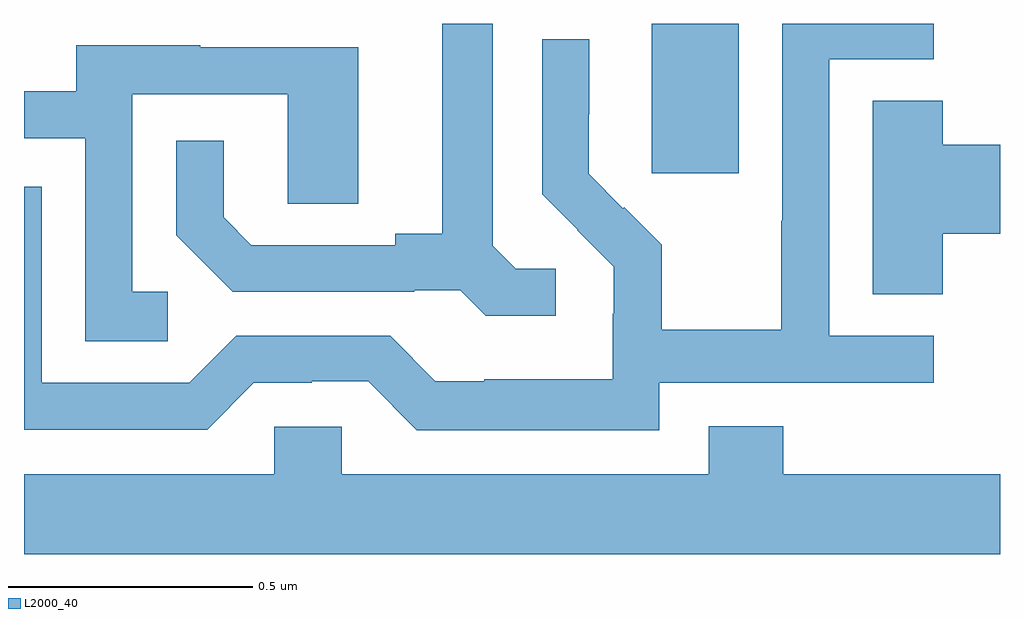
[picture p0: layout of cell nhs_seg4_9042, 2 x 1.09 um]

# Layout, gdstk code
import gdstk
lib = gdstk.Library(unit=1e-6, precision=1e-09)
def R(c, l, rs):  # rectangles x0, y0, x1, y1
    for r in rs: c.add(gdstk.rectangle(r[:2], r[2:], *l))
def P(c, l, *ps):  # polygons
    for p in ps: c.add(gdstk.Polygon(p, *l))
L2000_40 = (2000, 40)

nhs_seg4_9042 = lib.new_cell('nhs_seg4_9042')
R(nhs_seg4_9042, L2000_40, [(223.286,805.593,223.465,805.9)])
P(nhs_seg4_9042, L2000_40, [(223.09,805.398),(223.008,805.398),(222.961,805.445),(222.961,805.9),(222.857,805.9),(222.857,805.469),(222.761,805.469),(222.761,805.446),(222.466,805.446),(222.409,805.503),(222.409,805.66),(222.312,805.66),(222.312,805.466),(222.428,805.35),(222.8,805.35),(222.8,805.353),(222.894,805.353),(222.946,805.301),(223.09,805.301)],
  [(223.302,805.164),(223.864,805.164),(223.864,805.26),(223.65,805.26),(223.65,805.827),(223.864,805.827),(223.864,805.9),(223.554,805.9),(223.554,805.496),(223.552,805.496),(223.552,805.273),(223.307,805.273),(223.307,805.447),(223.23,805.524),(223.227,805.521),(223.157,805.592),(223.157,805.714),(223.158,805.714),(223.158,805.868),(223.062,805.868),(223.062,805.55),(223.135,805.477),(223.134,805.476),(223.208,805.402),(223.208,805.305),(223.206,805.305),(223.206,805.171),(222.943,805.171),(222.943,805.167),(222.843,805.167),(222.75,805.26),(222.435,805.26),(222.339,805.164),(222.036,805.164),(222.036,805.566),(222,805.566),(222,805.068),(222.375,805.068),(222.471,805.164),(222.59,805.164),(222.59,805.167),(222.705,805.167),(222.805,805.067),(223.302,805.067)],
  [(222.295,805.35),(222.222,805.35),(222.222,805.755),(222.54,805.755),(222.54,805.531),(222.685,805.531),(222.685,805.851),(222.361,805.851),(222.361,805.855),(222.107,805.855),(222.107,805.761),(222,805.761),(222,805.665),(222.126,805.665),(222.126,805.249),(222.295,805.249)],
  [(223.883,805.469),(224,805.469),(224,805.652),(223.883,805.652),(223.883,805.742),(223.739,805.742),(223.739,805.345),(223.883,805.345)],
  [(224,804.976),(223.556,804.976),(223.556,805.075),(223.403,805.075),(223.403,804.976),(222.651,804.976),(222.651,805.074),(222.513,805.074),(222.513,804.976),(222,804.976),(222,804.812),(224,804.812)])

lib.write_gds('nhs_seg4_9042.gds')
